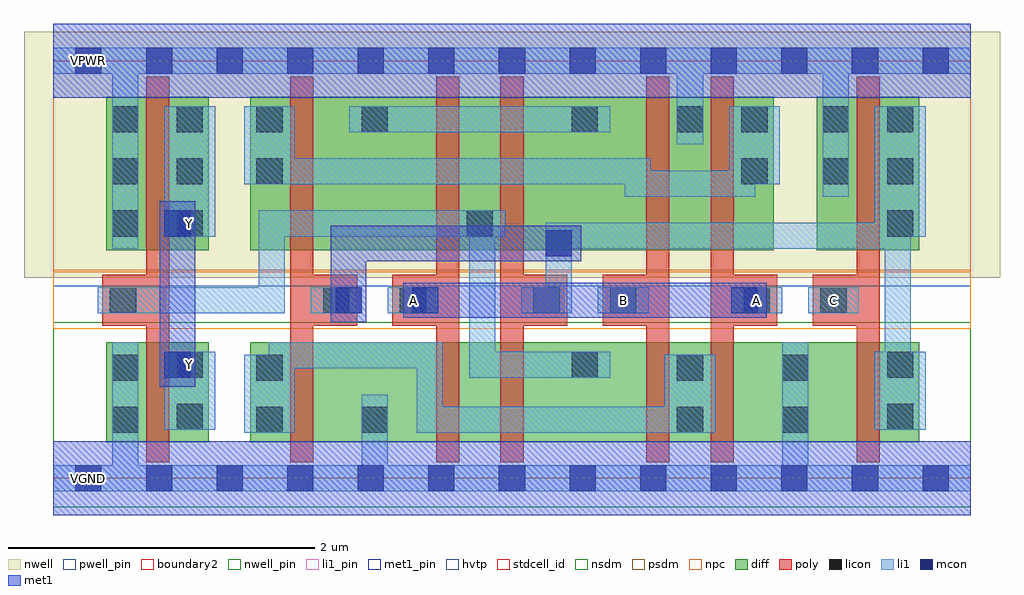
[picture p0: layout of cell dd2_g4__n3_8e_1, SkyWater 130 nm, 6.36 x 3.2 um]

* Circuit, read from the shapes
.subckt dd2_g4__n3_8e_1 A B C VGND VNB VPB VPWR Y
XM1 Y n1 VGND VNB sky130_fd_pr__nfet_01v8 w=0.65 l=0.15
XM2 VGND n2 n3 VNB sky130_fd_pr__nfet_01v8 w=0.65 l=0.15
XM3 n4 A VGND VNB sky130_fd_pr__nfet_01v8 w=0.65 l=0.15
XM4 n1 n2 n4 VNB sky130_fd_pr__nfet_01v8 w=0.65 l=0.15
XM5 n3 B n1 VNB sky130_fd_pr__nfet_01v8 w=0.65 l=0.15
XM6 VGND A n3 VNB sky130_fd_pr__nfet_01v8 w=0.65 l=0.15
XM7 n2 C VGND VNB sky130_fd_pr__nfet_01v8 w=0.65 l=0.15
XM8 Y n1 VPWR VPB sky130_fd_pr__pfet_01v8_hvt w=1 l=0.15
XM9 n5 n2 n6 VPB sky130_fd_pr__pfet_01v8_hvt w=1 l=0.15
XM10 n1 A n5 VPB sky130_fd_pr__pfet_01v8_hvt w=1 l=0.15
XM11 n5 n2 n1 VPB sky130_fd_pr__pfet_01v8_hvt w=1 l=0.15
XM12 VPWR B n5 VPB sky130_fd_pr__pfet_01v8_hvt w=1 l=0.15
XM13 n6 A VPWR VPB sky130_fd_pr__pfet_01v8_hvt w=1 l=0.15
XM14 n2 C VPWR VPB sky130_fd_pr__pfet_01v8_hvt w=1 l=0.15
.ends

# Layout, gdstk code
import gdstk
lib = gdstk.Library(unit=1e-6, precision=1e-09)
def R(c, l, rs):  # rectangles x0, y0, x1, y1
    for r in rs: c.add(gdstk.rectangle(r[:2], r[2:], *l))
def A(c, l, x, y, w, h, nx, ny, dx, dy):  # array of equal rectangles
    R(c, l, [(x+i*dx, y+j*dy, x+i*dx+w, y+j*dy+h) for i in range(nx) for j in range(ny)])
nwell_pin = (64, 16)
nwell = (64, 20)
diff = (65, 20)
poly = (66, 20)
licon = (66, 44)
li1_pin = (67, 16)
li1 = (67, 20)
mcon = (67, 44)
met1_pin = (68, 16)
met1 = (68, 20)
hvtp = (78, 44)
stdcell_id = (81, 4)
nsdm = (93, 44)
psdm = (94, 20)
npc = (95, 20)
pwell_pin = (122, 16)
boundary2 = (236, 0)

dd2_g4__n3_8e_1 = lib.new_cell('dd2_g4__n3_8e_1')
R(dd2_g4__n3_8e_1, nwell_pin, [(0.145,2.635,0.315,2.805)])
R(dd2_g4__n3_8e_1, nwell, [(-0.19,1.305,6.17,2.91)])
A(dd2_g4__n3_8e_1, diff, 2.095, 0.235, 0.685, 0.65, 4, 1, 0.685, 0)
A(dd2_g4__n3_8e_1, diff, 2.095, 1.485, 0.685, 1, 3, 1, 0.685, 0)
R(dd2_g4__n3_8e_1, diff, [(0.345,0.235,1.015,0.885), (1.285,0.235,2.095,0.885), (4.835,0.235,5.645,0.885), (0.345,1.485,1.015,2.485), (1.285,1.485,2.095,2.485), (4.15,1.485,4.695,2.485), (4.975,1.485,5.645,2.485)])
R(dd2_g4__n3_8e_1, poly, [(0.605,0.105,0.755,2.615), (1.545,0.105,1.695,2.615), (2.495,0.105,2.645,2.615), (2.915,0.105,3.065,2.615), (3.865,0.105,4.015,2.615), (4.285,0.105,4.435,2.615), (5.235,0.105,5.385,2.615), (0.32,0.995,0.755,1.325), (1.545,0.995,1.98,1.325), (2.21,0.995,2.645,1.325), (2.915,0.995,3.35,1.325), (3.58,0.995,4.015,1.325), (4.285,0.995,4.72,1.325), (4.95,0.995,5.385,1.325)])
A(dd2_g4__n3_8e_1, licon, 0.385, 1.575, 0.17, 0.17, 1, 3, 0, 0.34)
A(dd2_g4__n3_8e_1, licon, 0.805, 1.575, 0.17, 0.17, 1, 3, 0, 0.34)
A(dd2_g4__n3_8e_1, licon, 5.435, 1.575, 0.17, 0.17, 1, 3, 0, 0.34)
R(dd2_g4__n3_8e_1, licon, [(0.385,0.295,0.555,0.465), (1.325,0.295,1.495,0.465), (2.01,0.295,2.18,0.465), (4.065,0.295,4.235,0.465), (4.75,0.295,4.92,0.465), (0.805,0.315,0.975,0.485), (5.435,0.315,5.605,0.485), (0.385,0.635,0.555,0.805), (1.325,0.635,1.495,0.805), (4.065,0.635,4.235,0.805), (4.75,0.635,4.92,0.805), (0.805,0.655,0.975,0.825), (3.38,0.655,3.55,0.825), (5.435,0.655,5.605,0.825), (0.37,1.075,0.54,1.245), (1.76,1.075,1.93,1.245), (2.26,1.075,2.43,1.245), (3.13,1.075,3.3,1.245), (3.63,1.075,3.8,1.245), (4.5,1.075,4.67,1.245), (5,1.075,5.17,1.245), (2.695,1.575,2.865,1.745), (1.325,1.915,1.495,2.085), (4.485,1.915,4.655,2.085), (5.015,1.915,5.185,2.085), (1.325,2.255,1.495,2.425), (2.01,2.255,2.18,2.425), (3.38,2.255,3.55,2.425), (4.065,2.255,4.235,2.425), (4.485,2.255,4.655,2.425), (5.015,2.255,5.185,2.425)])
R(dd2_g4__n3_8e_1, li1_pin, [(0.805,0.655,0.975,0.825), (2.26,1.075,2.43,1.245), (3.63,1.075,3.8,1.245), (4.5,1.075,4.67,1.245), (5,1.075,5.17,1.245), (0.805,1.575,0.975,1.745)])
R(dd2_g4__n3_8e_1, li1, [(0,-0.085,5.98,0.085), (0.385,-0.085,0.555,0.545), (2.01,-0.085,2.18,0.545), (4.75,-0.085,4.92,0.545), (0.385,0.295,0.555,0.885), (1.245,0.295,1.575,0.465), (1.245,0.295,1.575,0.805), (1.405,0.295,1.575,0.885), (2.37,0.295,2.54,0.885), (2.37,0.295,4.155,0.465), (3.985,0.295,4.315,0.465), (3.985,0.295,4.315,0.805), (4.75,0.295,4.92,0.885), (0.725,0.315,1.055,0.825), (5.355,0.315,5.685,0.825), (0.725,0.655,1.055,0.825), (2.71,0.655,2.88,1.745), (2.71,0.655,3.47,0.825), (3.3,0.655,3.63,0.825), (5.355,0.655,5.685,0.825), (5.42,0.655,5.59,1.745), (1.405,0.715,2.54,0.885), (0.29,1.075,0.62,1.245), (0.45,1.075,1.51,1.245), (1.34,1.075,1.51,1.745), (1.68,1.075,2.01,1.245), (2.18,1.075,2.51,1.245), (3.05,1.075,3.38,1.245), (3.21,1.075,3.38,1.665), (3.55,1.075,3.88,1.245), (4.42,1.075,4.75,1.245), (4.92,1.075,5.25,1.245), (0.385,1.495,0.555,2.085), (3.21,1.495,5.525,1.665), (5.355,1.495,5.525,1.745), (0.725,1.575,1.055,1.745), (0.725,1.575,1.055,2.085), (1.34,1.575,2.785,1.745), (2.615,1.575,2.945,1.745), (5.355,1.575,5.685,1.745), (5.355,1.575,5.685,2.085), (0.385,1.835,0.555,2.425), (3.725,1.835,3.895,2.085), (3.725,1.835,4.575,2.005), (4.405,1.835,4.575,2.425), (5.015,1.835,5.185,2.425), (0.725,1.915,1.055,2.425), (1.245,1.915,1.575,2.425), (1.405,1.915,1.575,2.425), (1.405,1.915,3.895,2.085), (4.405,1.915,4.735,2.425), (5.355,1.915,5.685,2.425), (0.385,2.085,0.555,2.175), (0.385,2.085,0.555,2.175), (0.385,2.085,0.555,2.175), (0.385,2.085,0.555,2.175), (0.385,2.175,0.555,2.805), (4.065,2.175,4.235,2.805), (5.015,2.175,5.185,2.805), (1.245,2.255,1.575,2.425), (1.93,2.255,2.26,2.425), (2.09,2.255,3.47,2.425), (3.3,2.255,3.63,2.425), (4.405,2.255,4.735,2.425), (0,2.635,5.98,2.805)])
A(dd2_g4__n3_8e_1, mcon, 0.145, -0.085, 0.17, 0.17, 13, 2, 0.46, 2.72)
R(dd2_g4__n3_8e_1, mcon, [(0.725,0.655,0.895,0.825), (1.84,1.075,2.01,1.245), (2.34,1.075,2.51,1.245), (4.42,1.075,4.59,1.245), (3.21,1.445,3.38,1.615), (0.725,1.575,0.895,1.745)])
R(dd2_g4__n3_8e_1, met1_pin, [(0.145,-0.085,0.315,0.085), (0.145,2.635,0.315,2.805)])
R(dd2_g4__n3_8e_1, met1, [(0,-0.24,5.98,0.24), (0.695,0.595,0.925,0.885), (0.695,0.625,0.925,1.775), (1.81,1.015,2.04,1.305), (1.81,1.045,2.04,1.645), (2.28,1.045,2.57,1.275), (2.31,1.045,4.62,1.275), (4.36,1.045,4.65,1.275), (1.81,1.305,2.04,1.415), (1.81,1.305,2.04,1.415), (1.81,1.305,2.04,1.415), (1.81,1.305,2.04,1.415), (1.81,1.415,3.41,1.645), (3.15,1.415,3.44,1.645), (0.695,1.515,0.925,1.805), (0,2.48,5.98,2.96)])
R(dd2_g4__n3_8e_1, hvtp, [(0,1.25,5.98,2.72)])
R(dd2_g4__n3_8e_1, stdcell_id, [(0,0,5.98,2.72)])
R(dd2_g4__n3_8e_1, nsdm, [(0,-0.19,5.98,1.015)])
R(dd2_g4__n3_8e_1, psdm, [(0,1.355,5.98,2.91)])
R(dd2_g4__n3_8e_1, npc, [(0,0.975,5.98,1.345)])
R(dd2_g4__n3_8e_1, pwell_pin, [(0.145,-0.085,0.315,0.085)])
R(dd2_g4__n3_8e_1, boundary2, [(0,0,5.98,2.72)])
dd2_g4__n3_8e_1.add(gdstk.Label('A', (2.345,1.16), layer=67, texttype=5))
dd2_g4__n3_8e_1.add(gdstk.Label('A', (4.585,1.16), layer=67, texttype=5))
dd2_g4__n3_8e_1.add(gdstk.Label('B', (3.715,1.16), layer=67, texttype=5))
dd2_g4__n3_8e_1.add(gdstk.Label('C', (5.085,1.16), layer=67, texttype=5))
dd2_g4__n3_8e_1.add(gdstk.Label('Y', (0.89,0.74), layer=67, texttype=5))
dd2_g4__n3_8e_1.add(gdstk.Label('Y', (0.89,1.66), layer=67, texttype=5))
dd2_g4__n3_8e_1.add(gdstk.Label('VGND', (0.23,0), layer=68, texttype=5))
dd2_g4__n3_8e_1.add(gdstk.Label('VPWR', (0.23,2.72), layer=68, texttype=5))
dd2_g4__n3_8e_1.add(gdstk.Label('VPB', (0.23,2.72), layer=64, texttype=5))
dd2_g4__n3_8e_1.add(gdstk.Label('VNB', (0.23,0), layer=64, texttype=59))

lib.write_gds('dd2_g4__n3_8e_1.gds')
